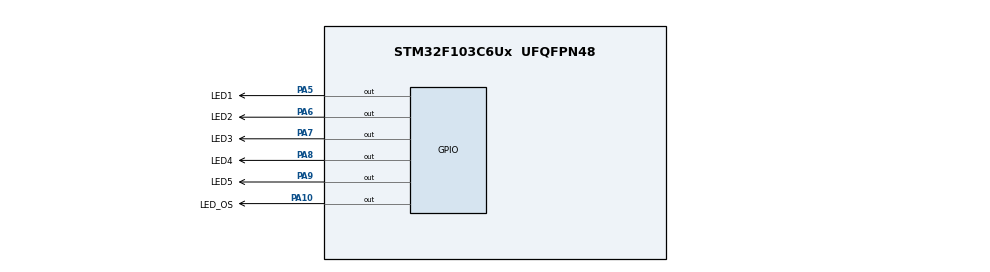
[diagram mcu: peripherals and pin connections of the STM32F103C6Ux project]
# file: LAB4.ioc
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Mcu.Family=STM32F1
Mcu.Name=STM32F103C6Ux
Mcu.Package=UFQFPN48
NVIC.PriorityGroup=NVIC_PRIORITYGROUP_4
NVIC.TIM2_IRQn=true\:0\:0\:false\:false\:true\:true\:true
PA10.GPIO_Label=LED_OS
PA10.Signal=GPIO_Output
PA5.GPIO_Label=LED1
PA5.Signal=GPIO_Output
PA6.GPIO_Label=LED2
PA6.Signal=GPIO_Output
PA7.GPIO_Label=LED3
PA7.Signal=GPIO_Output
PA8.GPIO_Label=LED4
PA8.Signal=GPIO_Output
PA9.GPIO_Label=LED5
PA9.Signal=GPIO_Output
ProjectManager.HeapSize=0x200
ProjectManager.StackSize=0x400
ProjectManager.TargetToolchain=STM32CubeIDE
RCC.APB1Freq_Value=8000000
RCC.APB2Freq_Value=8000000
TIM2.Period=9
TIM2.Prescaler=7999
VP_SYS_VS_ND.Mode=No_Debug
VP_TIM2_VS_ClockSourceINT.Mode=Internal
board=custom

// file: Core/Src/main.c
/* USER CODE BEGIN Header */
/**
  ******************************************************************************
  * @file           : main.c
  * @brief          : Main program body
  ******************************************************************************
  * @attention
  *
  * <h2><center>&copy; Copyright (c) 2025 STMicroelectronics.
  * All rights reserved.</center></h2>
  *
  * This software component is licensed by ST under BSD 3-Clause license,
  * the "License"; You may not use this file except in compliance with the
  * License. You may obtain a copy of the License at:
  *                        opensource.org/licenses/BSD-3-Clause
  *
  ******************************************************************************
  */
/* USER CODE END Header */
#include "main.h"
#include "scheduler.h"

TIM_HandleTypeDef htim2;

void SystemClock_Config(void);
static void MX_GPIO_Init(void);
static void MX_TIM2_Init(void);

/* USER CODE BEGIN 0 */

int TIME_CYCLE = 0;
void led1() {
	HAL_GPIO_TogglePin(LED1_GPIO_Port, LED1_Pin);
}

void led2() {
	HAL_GPIO_TogglePin(LED2_GPIO_Port, LED2_Pin);
}

void led3() {
	HAL_GPIO_TogglePin(LED3_GPIO_Port, LED3_Pin);
}

void led4() {
	HAL_GPIO_TogglePin(LED4_GPIO_Port, LED4_Pin);
}

void led5() {
	HAL_GPIO_TogglePin(LED5_GPIO_Port, LED5_Pin);
}

void ledo1() {
	HAL_GPIO_TogglePin(LED_OS_GPIO_Port, LED_OS_Pin);
}

/* USER CODE END 0 */

int main(void)
{

  /* MCU Configuration--------------------------------------------------------*/

  /* Reset of all peripherals, Initializes the Flash interface and the Systick. */
  HAL_Init();

  /* Configure the system clock */
  SystemClock_Config();

  /* Initialize all configured peripherals */
  MX_GPIO_Init();
  MX_TIM2_Init();
  /* USER CODE BEGIN 2 */
  HAL_TIM_Base_Start_IT(&htim2);
  SCH_Init();
  /* USER CODE END 2 */

  /* Infinite loop */
  /* USER CODE BEGIN WHILE */
  // Normal Task
    SCH_Add_Task(led1, 500, 500);
    SCH_Add_Task(led2, 1000, 1000);
    SCH_Add_Task(led3, 1500, 1500);
    SCH_Add_Task(led4, 2000, 2000);
    SCH_Add_Task(led5, 2500, 2500);
    // "One shot" task
    SCH_Add_Task(ledo1, 2000, 0);
  while (1)
  {
    /* USER CODE END WHILE */
	  SCH_Dispatch_Tasks();
  }
}

void SystemClock_Config(void)
{
  RCC_OscInitTypeDef RCC_OscInitStruct = {0};
  RCC_ClkInitTypeDef RCC_ClkInitStruct = {0};

  /** Initializes the RCC Oscillators according to the specified parameters
  * in the RCC_OscInitTypeDef structure.
  */
  RCC_OscInitStruct.OscillatorType = RCC_OSCILLATORTYPE_HSI;
  RCC_OscInitStruct.HSIState = RCC_HSI_ON;
  RCC_OscInitStruct.HSICalibrationValue = RCC_HSICALIBRATION_DEFAULT;
  RCC_OscInitStruct.PLL.PLLState = RCC_PLL_NONE;
  if (HAL_RCC_OscConfig(&RCC_OscInitStruct) != HAL_OK)
  {
    Error_Handler();
  }
  /** Initializes the CPU, AHB and APB buses clocks
  */
  RCC_ClkInitStruct.ClockType = RCC_CLOCKTYPE_HCLK|RCC_CLOCKTYPE_SYSCLK
                              |RCC_CLOCKTYPE_PCLK1|RCC_CLOCKTYPE_PCLK2;
  RCC_ClkInitStruct.SYSCLKSource = RCC_SYSCLKSOURCE_HSI;
  RCC_ClkInitStruct.AHBCLKDivider = RCC_SYSCLK_DIV1;
  RCC_ClkInitStruct.APB1CLKDivider = RCC_HCLK_DIV1;
  RCC_ClkInitStruct.APB2CLKDivider = RCC_HCLK_DIV1;

  if (HAL_RCC_ClockConfig(&RCC_ClkInitStruct, FLASH_LATENCY_0) != HAL_OK)
  {
    Error_Handler();
  }
}

static void MX_TIM2_Init(void)
{

  TIM_ClockConfigTypeDef sClockSourceConfig = {0};
  TIM_MasterConfigTypeDef sMasterConfig = {0};

  htim2.Instance = TIM2;
  htim2.Init.Prescaler = 7999;
  htim2.Init.CounterMode = TIM_COUNTERMODE_UP;
  htim2.Init.Period = 9;
  htim2.Init.ClockDivision = TIM_CLOCKDIVISION_DIV1;
  htim2.Init.AutoReloadPreload = TIM_AUTORELOAD_PRELOAD_DISABLE;
  if (HAL_TIM_Base_Init(&htim2) != HAL_OK)
  {
    Error_Handler();
  }
  sClockSourceConfig.ClockSource = TIM_CLOCKSOURCE_INTERNAL;
  if (HAL_TIM_ConfigClockSource(&htim2, &sClockSourceConfig) != HAL_OK)
  {
    Error_Handler();
  }
  sMasterConfig.MasterOutputTrigger = TIM_TRGO_RESET;
  sMasterConfig.MasterSlaveMode = TIM_MASTERSLAVEMODE_DISABLE;
  if (HAL_TIMEx_MasterConfigSynchronization(&htim2, &sMasterConfig) != HAL_OK)
  {
    Error_Handler();
  }
  /* USER CODE BEGIN TIM2_Init 2 */
  TIME_CYCLE = ((htim2.Init.Prescaler + 1) * (htim2.Init.Period + 1)) / 8000;
 // Time cycle
  /* USER CODE END TIM2_Init 2 */

}

static void MX_GPIO_Init(void)
{
  GPIO_InitTypeDef GPIO_InitStruct = {0};

  /* GPIO Ports Clock Enable */
  __HAL_RCC_GPIOA_CLK_ENABLE();

  /*Configure GPIO pin Output Level */
  HAL_GPIO_WritePin(GPIOA, LED1_Pin|LED2_Pin|LED3_Pin|LED4_Pin
                          |LED5_Pin|LED_OS_Pin, GPIO_PIN_RESET);

  /*Configure GPIO pins : LED1_Pin LED2_Pin LED3_Pin LED4_Pin
                           LED5_Pin LED_OS_Pin */
  GPIO_InitStruct.Pin = LED1_Pin|LED2_Pin|LED3_Pin|LED4_Pin
                          |LED5_Pin|LED_OS_Pin;
  GPIO_InitStruct.Mode = GPIO_MODE_OUTPUT_PP;
  GPIO_InitStruct.Pull = GPIO_NOPULL;
  GPIO_InitStruct.Speed = GPIO_SPEED_FREQ_LOW;
  HAL_GPIO_Init(GPIOA, &GPIO_InitStruct);

}

/* USER CODE BEGIN 4 */
void HAL_TIM_PeriodElapsedCallback(TIM_HandleTypeDef * htim)
{
	SCH_Update();
}
/* USER CODE END 4 */

void Error_Handler(void)
{
  __disable_irq();
  while (1)
  {
  }
}

/************************ (C) COPYRIGHT STMicroelectronics *****END OF FILE****/
